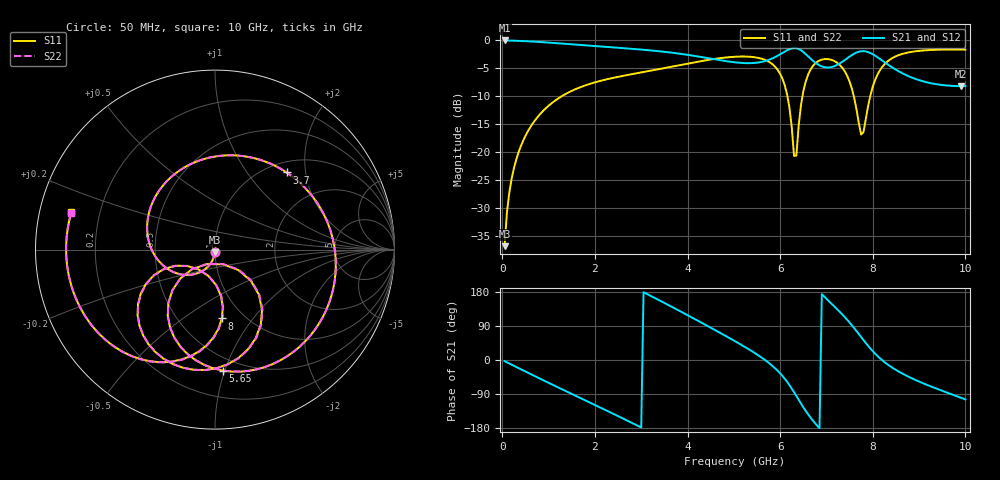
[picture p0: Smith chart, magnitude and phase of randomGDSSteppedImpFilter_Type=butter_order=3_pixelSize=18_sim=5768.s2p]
! freq	dB(S11)	phase(S11)	dB(S12)	phase(S12)
!  dB(S21)	phase(S21)	dB(S22)	phase(S22)
!S-par simulation data
#  GHz  S  DB  R 50
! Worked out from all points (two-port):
!   200 points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, 50 MHz to 10 GHz, reference 50 ohm
!   highest |S21| = 0.00 dB at 50 MHz (marker M1); lowest = -8.2 dB at 9.9 GHz (marker M2)
!   |S21| within 3 dB of the highest: start of sweep to 4.322 GHz; 5.885 GHz to 6.623 GHz (738 MHz wide, 11.8 % of centre) (the widest 2 of 3)
!   lowest |S11| = -36.8 dB at 50 MHz (marker M3), VSWR 1.03, Z = 49.9 - j1.44 ohm
!   |S11| at or under -10 dB: start of sweep to 1.281 GHz; 6.157 GHz to 6.482 GHz (325.1 MHz wide, 5.14 % of centre); 7.591 GHz to 7.944 GHz (353.6 MHz wide, 4.55 % of centre)
!   |S22| runs from -36.8 to -1.6 dB; largest |S21 - S12| = 0
!   S11 on the Smith chart (normalised r, x): 50 MHz: 1.00, -0.03; 3.7 GHz: 1.20, +1.57; 5.65 GHz: 0.40, -0.98; 8 GHz: 0.79, -0.72; 10 GHz: 0.10, +0.13
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0.05  -36.82 -92.8  -0.00 -3.1  -0.00 -3.1  -36.82 -92.8
0.2  -24.83 -102.4  -0.03 -12.3  -0.03 -12.3  -24.82 -102.4
0.5  -17.08 -120.9  -0.13 -30.4  -0.13 -30.4  -17.08 -120.9
1.15  -10.71 -159.8  -0.48 -69.1  -0.48 -69.1  -10.71 -159.7
1.75  -8.17 165.2  -0.86 -104.1  -0.86 -104.1  -8.17 165.2
2.65  -6.27 112.3  -1.40 -157.0  -1.40 -157.0  -6.27 112.4
3.4  -5.12 66.2  -1.95 156.9  -1.95 156.9  -5.11 66.4
3.7  -4.64 47.2  -2.23 137.8  -2.23 137.8  -4.64 47.4
4.35  -3.62 4.8  -3.04 95.2  -3.04 95.2  -3.62 5.1
5.05  -2.91 -42.0  -3.94 47.8  -3.94 47.8  -2.91 -41.8
5.65  -3.41 -86.3  -3.75 2.0  -3.75 2.0  -3.41 -86.1
6.1  -8.05 -131.1  -1.99 -49.6  -1.99 -49.6  -8.06 -131.1
6.3  -20.67 -119.0  -1.37 -85.0  -1.37 -85.0  -20.82 -119.3
6.7  -4.64 -71.8  -3.59 -158.9  -3.59 -158.9  -4.64 -71.4
7.05  -3.36 -110.4  -4.84 155.5  -4.84 155.5  -3.36 -110.1
7.55  -8.66 -157.3  -2.61 91.4  -2.61 91.4  -8.66 -157.0
7.75  -16.85 -129.8  -1.93 60.3  -1.93 60.3  -16.87 -129.6
8  -8.28 -84.4  -2.48 23.2  -2.48 23.2  -8.28 -84.0
8.35  -3.55 -110.5  -4.45 -14.4  -4.45 -14.4  -3.55 -110.2
9.1  -1.79 -153.9  -7.35 -62.1  -7.35 -62.1  -1.79 -153.6
9.9  -1.64 169.6  -8.18 -99.5  -8.18 -99.5  -1.63 170.0
10  -1.65 165.2  -8.17 -104.1  -8.17 -104.1  -1.65 165.6
